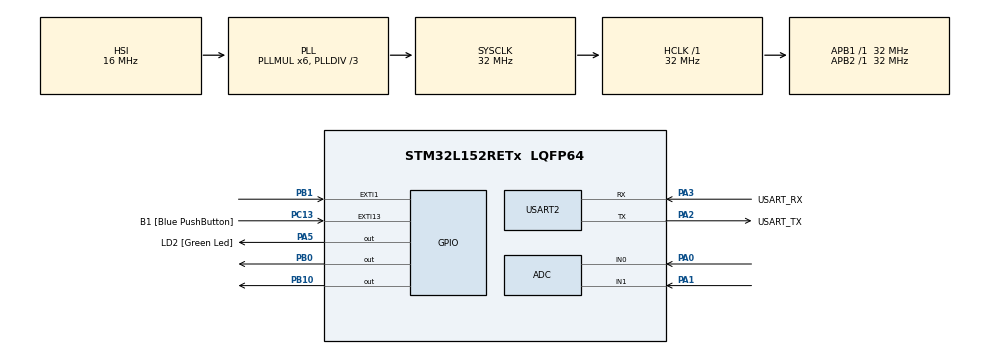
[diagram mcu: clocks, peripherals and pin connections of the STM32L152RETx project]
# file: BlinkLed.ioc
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Mcu.Family=STM32L1
PH0-OSC_IN.Signal=RCC_OSC_IN
Dma.ADC.0.Mode=DMA_CIRCULAR
ADC.SamplingTime-2\#ChannelRegularConversion=ADC_SAMPLETIME_4CYCLES
ADC.Rank-0\#ChannelRegularConversion=1
PA14.GPIO_Label=TCK
Dma.ADC.0.Priority=DMA_PRIORITY_LOW
VP_RTC_VS_RTC_Activate.Mode=RTC_Enabled
RCC.SYSCLKSource=RCC_SYSCLKSOURCE_PLLCLK
ProjectManager.StackSize=0x400
ADC.NbrOfConversion=3
NVIC.EXTI1_IRQn=true\:0\:0\:false\:false\:true\:true\:true
RCC.PLLDIV=RCC_PLL_DIV3
Dma.ADC.0.PeriphInc=DMA_PINC_DISABLE
RCC.HCLKFreq_Value=32000000
PC13-WKUP2.GPIO_Label=B1 [Blue PushButton]
RCC.APB2TimFreq_Value=32000000
PB1.GPIO_ModeDefaultEXTI=GPIO_MODE_IT_RISING
RCC.AHBFreq_Value=32000000
PH0-OSC_IN.Mode=HSE-External-Clock-Source
Dma.ADC.0.Direction=DMA_PERIPH_TO_MEMORY
RCC.HSE_VALUE=8000000
PC13-WKUP2.Signal=GPXTI13
RCC.PLLMUL=RCC_PLL_MUL6
PC14-OSC32_IN.Mode=LSE-External-Oscillator
RCC.RTCClockSelectionVirtual=RCC_RTCCLKSOURCE_LSE
PA14.Mode=Serial_Wire
Dma.ADC.0.MemInc=DMA_MINC_ENABLE
Mcu.Package=LQFP64
PB1.Signal=GPXTI1
USART2.VirtualMode=VM_ASYNC
RCC.USBOutput=48000000
PA2.GPIO_Label=USART_TX
Dma.ADC.0.Instance=DMA1_Channel1
VP_RTC_VS_RTC_Calendar.Mode=RTC_Calendar
ADC.Channel-0\#ChannelRegularConversion=ADC_CHANNEL_0
Dma.ADC.0.MemDataAlignment=DMA_MDATAALIGN_WORD
ADC.Channel-2\#ChannelRegularConversion=ADC_CHANNEL_TEMPSENSOR
RCC.APB1TimFreq_Value=32000000
ADC.SamplingTime-1\#ChannelRegularConversion=ADC_SAMPLETIME_4CYCLES
Dma.Request0=ADC
PA3.Signal=USART2_RX
PB3.GPIO_Label=SWO
RCC.MSI_VALUE=2097000
PC15-OSC32_OUT.Mode=LSE-External-Oscillator
ADC.Channel-1\#ChannelRegularConversion=ADC_CHANNEL_1
VP_ADC_TempSens_Input.Mode=IN-TempSens
PC14-OSC32_IN.Signal=RCC_OSC32_IN
Dma.ADC.0.PeriphDataAlignment=DMA_PDATAALIGN_WORD
PA13.Signal=SYS_JTMS-SWDIO
PA3.Mode=Asynchronous
ProjectManager.TargetToolchain=STM32CubeIDE
ADC.Rank-1\#ChannelRegularConversion=2
PA0-WKUP1.Signal=ADC_IN0
ADC.NbrOfConversionFlag=1
PC15-OSC32_OUT.Signal=RCC_OSC32_OUT
ADC.Rank-2\#ChannelRegularConversion=3
PA1.Signal=ADC_IN1
PB10.Signal=GPIO_Output
PA5.Signal=GPIO_Output
ADC.DMAContinuousRequests=ENABLE
board=NUCLEO-L152RE
RCC.VCOOutputFreq_Value=96000000
RCC.APB2Freq_Value=32000000
PA1.Mode=IN1
PH1-OSC_OUT.Signal=RCC_OSC_OUT
PA0-WKUP1.Mode=IN0
PA13.Mode=Serial_Wire
Mcu.Name=STM32L152RETx
PA13.GPIO_Label=TMS
PA2.Signal=USART2_TX
RCC.48MHZClocksFreq_Value=48000000
PB3.Signal=SYS_JTDO-TRACESWO
RCC.SYSCLKFreq_VALUE=32000000
PA5.GPIO_Label=LD2 [Green Led]
PA14.Signal=SYS_JTCK-SWCLK
ProjectManager.HeapSize=0x200
RCC.HSI_VALUE=16000000
NVIC.PriorityGroup=NVIC_PRIORITYGROUP_0
PA2.Mode=Asynchronous
ADC.SamplingTime-0\#ChannelRegularConversion=ADC_SAMPLETIME_4CYCLES
NVIC.DMA1_Channel1_IRQn=true\:0\:0\:false\:false\:true\:false\:true
RCC.APB1Freq_Value=32000000
PB0.Signal=GPIO_Output
ADC.ContinuousConvMode=ENABLE
PA3.GPIO_Label=USART_RX

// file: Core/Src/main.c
/* USER CODE BEGIN Header */
/**
  ******************************************************************************
  * @file           : main.c
  * @brief          : Main program body
  ******************************************************************************
  * @attention
  *
  * <h2><center>&copy; Copyright (c) 2021 STMicroelectronics.
  * All rights reserved.</center></h2>
  *
  * This software component is licensed by ST under BSD 3-Clause license,
  * the "License"; You may not use this file except in compliance with the
  * License. You may obtain a copy of the License at:
  *                        opensource.org/licenses/BSD-3-Clause
  *
  ******************************************************************************
  */
/* USER CODE END Header */
#include "main.h"

/* USER CODE BEGIN Includes */
#include "string.h"
#include <stdlib.h>
#include <stdio.h>
/* USER CODE END Includes */

ADC_HandleTypeDef hadc;
DMA_HandleTypeDef hdma_adc;

RTC_HandleTypeDef hrtc;

UART_HandleTypeDef huart2;

/* USER CODE BEGIN PV */
int State = 0;
uint8_t tx_buff[] = "HELLO\n\r";
uint8_t rx_buff[8];
uint32_t adc_value[3]; //0: IN0, 1: IN1, 2: Temp
float temp;

static char input_serial[128]="";
static char flag[5]="";
static int dummy = 0;
static char time_[80]="NA";
int config_time = 30;
/* USER CODE END PV */

void SystemClock_Config(void);
static void MX_GPIO_Init(void);
static void MX_DMA_Init(void);
static void MX_USART2_UART_Init(void);
static void MX_ADC_Init(void);
static void MX_RTC_Init(void);

/* USER CODE BEGIN 0 */
void debugPrint(UART_HandleTypeDef *huart, char _out[]);
void debugPrintln(UART_HandleTypeDef *huart, char _out[]);

void HAL_GPIO_EXTI_Callback(uint16_t GPIO_Pin)
{
  if (GPIO_Pin == GPIO_PIN_0){
	  printf("- Interrupcion por pulsador activada");
	  // Interrupcion para cuando se presione el pulsador
  }
}

void HAL_UART_RxCpltCallback(UART_HandleTypeDef *huart){
	HAL_UART_Receive_IT(huart, rx_buff, 8); // Init UART Interrupt
	HAL_UART_Transmit(huart,  (uint8_t *)rx_buff, 8, 1); // ECHO
	debugPrintln(huart, (char *)rx_buff); // ECHO ver si funciona

	snprintf(input_serial, sizeof(input_serial), (char *)rx_buff);
	// #30S example
	if (strlen(input_serial) >= 2){
	  snprintf(flag, 3, input_serial);
	}
	printf("- Flag is: %s", flag);
	// need to parse #

	// Need to parse the number and convert to int
	// Also verify if is S: seconds or M: minutes
	dummy = strlen(input_serial) - 1;
	strncpy(time_, input_serial + 2, dummy);
	printf("- Time is: %s", time_);

	itoa(config_time, time_, 10); // set new time - decimal number
	printf("- Time is (decimal): %d", config_time);

}

void HAL_ADC_ConvCpltCallback(ADC_HandleTypeDef* hadc){
	// For temp sensor, but can be use to other ADC Channels
	float adc_volt = 3.3/4095*adc_value[2];
	temp = (( adc_volt - 0.76 ) / 0.0025) + 25; // Check the convertion in the datasheet

	//float adc_volt0 = 3.3/4095*adc_value[0]; // IN0
	printf("Lecture of adc0: %ld\n\r", adc_value[0]); // verificar si funciona

	//float adc_volt1 = 3.3/4095*adc_value[1]; // IN1
	printf("Lecture of adc1: %ld\n\r", adc_value[1]);

	HAL_ADC_Stop_IT(hadc);
}
/* USER CODE END 0 */

int main(void)
{

  /* MCU Configuration--------------------------------------------------------*/

  /* Reset of all peripherals, Initializes the Flash interface and the Systick. */
  HAL_Init();

  /* Configure the system clock */
  SystemClock_Config();

  /* Initialize all configured peripherals */
  MX_GPIO_Init();
  MX_DMA_Init();
  MX_USART2_UART_Init();
  MX_ADC_Init();
  MX_RTC_Init();
  /* USER CODE BEGIN 2 */
  HAL_UART_Receive_IT(&huart2, rx_buff, 8); // Init UART Interrupt
  // HAL_ADC_Start_DMA(&hadc, adc_value, 3);
  /* USER CODE END 2 */

  /* Infinite loop */
  while (1)
  {

    /* USER CODE BEGIN 3 */
	HAL_ADC_Start_IT(&hadc); // Start convertion
    printf("- Time is set to (decimal): %d", config_time);
	HAL_GPIO_TogglePin(GPIOB, GPIO_PIN_0);
	debugPrintln(&huart2, "Hello");
	HAL_Delay(500);

	// Falta ver como encender y apagar el led a cada minuto
  }
  /* USER CODE END 3 */
}

void SystemClock_Config(void)
{
  RCC_OscInitTypeDef RCC_OscInitStruct = {0};
  RCC_ClkInitTypeDef RCC_ClkInitStruct = {0};
  RCC_PeriphCLKInitTypeDef PeriphClkInit = {0};

  /** Configure the main internal regulator output voltage
  */
  __HAL_PWR_VOLTAGESCALING_CONFIG(PWR_REGULATOR_VOLTAGE_SCALE1);
  /** Initializes the RCC Oscillators according to the specified parameters
  * in the RCC_OscInitTypeDef structure.
  */
  RCC_OscInitStruct.OscillatorType = RCC_OSCILLATORTYPE_HSI|RCC_OSCILLATORTYPE_LSE;
  RCC_OscInitStruct.LSEState = RCC_LSE_ON;
  RCC_OscInitStruct.HSIState = RCC_HSI_ON;
  RCC_OscInitStruct.HSICalibrationValue = RCC_HSICALIBRATION_DEFAULT;
  RCC_OscInitStruct.PLL.PLLState = RCC_PLL_ON;
  RCC_OscInitStruct.PLL.PLLSource = RCC_PLLSOURCE_HSI;
  RCC_OscInitStruct.PLL.PLLMUL = RCC_PLL_MUL6;
  RCC_OscInitStruct.PLL.PLLDIV = RCC_PLL_DIV3;
  if (HAL_RCC_OscConfig(&RCC_OscInitStruct) != HAL_OK)
  {
    Error_Handler();
  }
  /** Initializes the CPU, AHB and APB buses clocks
  */
  RCC_ClkInitStruct.ClockType = RCC_CLOCKTYPE_HCLK|RCC_CLOCKTYPE_SYSCLK
                              |RCC_CLOCKTYPE_PCLK1|RCC_CLOCKTYPE_PCLK2;
  RCC_ClkInitStruct.SYSCLKSource = RCC_SYSCLKSOURCE_PLLCLK;
  RCC_ClkInitStruct.AHBCLKDivider = RCC_SYSCLK_DIV1;
  RCC_ClkInitStruct.APB1CLKDivider = RCC_HCLK_DIV1;
  RCC_ClkInitStruct.APB2CLKDivider = RCC_HCLK_DIV1;

  if (HAL_RCC_ClockConfig(&RCC_ClkInitStruct, FLASH_LATENCY_1) != HAL_OK)
  {
    Error_Handler();
  }
  PeriphClkInit.PeriphClockSelection = RCC_PERIPHCLK_RTC;
  PeriphClkInit.RTCClockSelection = RCC_RTCCLKSOURCE_LSE;
  if (HAL_RCCEx_PeriphCLKConfig(&PeriphClkInit) != HAL_OK)
  {
    Error_Handler();
  }
}

static void MX_ADC_Init(void)
{

  ADC_ChannelConfTypeDef sConfig = {0};

  /** Configure the global features of the ADC (Clock, Resolution, Data Alignment and number of conversion)
  */
  hadc.Instance = ADC1;
  hadc.Init.ClockPrescaler = ADC_CLOCK_ASYNC_DIV1;
  hadc.Init.Resolution = ADC_RESOLUTION_12B;
  hadc.Init.DataAlign = ADC_DATAALIGN_RIGHT;
  hadc.Init.ScanConvMode = ADC_SCAN_DISABLE;
  hadc.Init.EOCSelection = ADC_EOC_SEQ_CONV;
  hadc.Init.LowPowerAutoWait = ADC_AUTOWAIT_DISABLE;
  hadc.Init.LowPowerAutoPowerOff = ADC_AUTOPOWEROFF_DISABLE;
  hadc.Init.ChannelsBank = ADC_CHANNELS_BANK_A;
  hadc.Init.ContinuousConvMode = ENABLE;
  hadc.Init.NbrOfConversion = 3;
  hadc.Init.DiscontinuousConvMode = DISABLE;
  hadc.Init.ExternalTrigConv = ADC_SOFTWARE_START;
  hadc.Init.ExternalTrigConvEdge = ADC_EXTERNALTRIGCONVEDGE_NONE;
  hadc.Init.DMAContinuousRequests = ENABLE;
  if (HAL_ADC_Init(&hadc) != HAL_OK)
  {
    Error_Handler();
  }
  /** Configure for the selected ADC regular channel its corresponding rank in the sequencer and its sample time.
  */
  sConfig.Channel = ADC_CHANNEL_0;
  sConfig.Rank = ADC_REGULAR_RANK_1;
  sConfig.SamplingTime = ADC_SAMPLETIME_4CYCLES;
  if (HAL_ADC_ConfigChannel(&hadc, &sConfig) != HAL_OK)
  {
    Error_Handler();
  }
  /** Configure for the selected ADC regular channel its corresponding rank in the sequencer and its sample time.
  */
  sConfig.Channel = ADC_CHANNEL_1;
  sConfig.Rank = ADC_REGULAR_RANK_2;
  if (HAL_ADC_ConfigChannel(&hadc, &sConfig) != HAL_OK)
  {
    Error_Handler();
  }
  /** Configure for the selected ADC regular channel its corresponding rank in the sequencer and its sample time.
  */
  sConfig.Channel = ADC_CHANNEL_TEMPSENSOR;
  sConfig.Rank = ADC_REGULAR_RANK_3;
  if (HAL_ADC_ConfigChannel(&hadc, &sConfig) != HAL_OK)
  {
    Error_Handler();
  }

}

static void MX_RTC_Init(void)
{

  RTC_TimeTypeDef sTime = {0};
  RTC_DateTypeDef sDate = {0};

  /** Initialize RTC Only
  */
  hrtc.Instance = RTC;
  hrtc.Init.HourFormat = RTC_HOURFORMAT_24;
  hrtc.Init.AsynchPrediv = 127;
  hrtc.Init.SynchPrediv = 255;
  hrtc.Init.OutPut = RTC_OUTPUT_DISABLE;
  hrtc.Init.OutPutPolarity = RTC_OUTPUT_POLARITY_HIGH;
  hrtc.Init.OutPutType = RTC_OUTPUT_TYPE_OPENDRAIN;
  if (HAL_RTC_Init(&hrtc) != HAL_OK)
  {
    Error_Handler();
  }

  /** Initialize RTC and set the Time and Date
  */
  sTime.Hours = 0x0;
  sTime.Minutes = 0x0;
  sTime.Seconds = 0x0;
  sTime.DayLightSaving = RTC_DAYLIGHTSAVING_NONE;
  sTime.StoreOperation = RTC_STOREOPERATION_RESET;
  if (HAL_RTC_SetTime(&hrtc, &sTime, RTC_FORMAT_BCD) != HAL_OK)
  {
    Error_Handler();
  }
  sDate.WeekDay = RTC_WEEKDAY_MONDAY;
  sDate.Month = RTC_MONTH_JANUARY;
  sDate.Date = 0x1;
  sDate.Year = 0x0;

  if (HAL_RTC_SetDate(&hrtc, &sDate, RTC_FORMAT_BCD) != HAL_OK)
  {
    Error_Handler();
  }

}

static void MX_USART2_UART_Init(void)
{

  huart2.Instance = USART2;
  huart2.Init.BaudRate = 115200;
  huart2.Init.WordLength = UART_WORDLENGTH_8B;
  huart2.Init.StopBits = UART_STOPBITS_1;
  huart2.Init.Parity = UART_PARITY_NONE;
  huart2.Init.Mode = UART_MODE_TX_RX;
  huart2.Init.HwFlowCtl = UART_HWCONTROL_NONE;
  huart2.Init.OverSampling = UART_OVERSAMPLING_16;
  if (HAL_UART_Init(&huart2) != HAL_OK)
  {
    Error_Handler();
  }

}

static void MX_DMA_Init(void)
{

  /* DMA controller clock enable */
  __HAL_RCC_DMA1_CLK_ENABLE();

  /* DMA interrupt init */
  /* DMA1_Channel1_IRQn interrupt configuration */
  HAL_NVIC_SetPriority(DMA1_Channel1_IRQn, 0, 0);
  HAL_NVIC_EnableIRQ(DMA1_Channel1_IRQn);

}

static void MX_GPIO_Init(void)
{
  GPIO_InitTypeDef GPIO_InitStruct = {0};

  /* GPIO Ports Clock Enable */
  __HAL_RCC_GPIOC_CLK_ENABLE();
  __HAL_RCC_GPIOH_CLK_ENABLE();
  __HAL_RCC_GPIOA_CLK_ENABLE();
  __HAL_RCC_GPIOB_CLK_ENABLE();

  /*Configure GPIO pin Output Level */
  HAL_GPIO_WritePin(LD2_GPIO_Port, LD2_Pin, GPIO_PIN_RESET);

  /*Configure GPIO pin Output Level */
  HAL_GPIO_WritePin(GPIOB, GPIO_PIN_0|GPIO_PIN_10, GPIO_PIN_RESET);

  /*Configure GPIO pin : B1_Pin */
  GPIO_InitStruct.Pin = B1_Pin;
  GPIO_InitStruct.Mode = GPIO_MODE_IT_RISING;
  GPIO_InitStruct.Pull = GPIO_NOPULL;
  HAL_GPIO_Init(B1_GPIO_Port, &GPIO_InitStruct);

  /*Configure GPIO pin : LD2_Pin */
  GPIO_InitStruct.Pin = LD2_Pin;
  GPIO_InitStruct.Mode = GPIO_MODE_OUTPUT_PP;
  GPIO_InitStruct.Pull = GPIO_NOPULL;
  GPIO_InitStruct.Speed = GPIO_SPEED_FREQ_LOW;
  HAL_GPIO_Init(LD2_GPIO_Port, &GPIO_InitStruct);

  /*Configure GPIO pins : PB0 PB10 */
  GPIO_InitStruct.Pin = GPIO_PIN_0|GPIO_PIN_10;
  GPIO_InitStruct.Mode = GPIO_MODE_OUTPUT_PP;
  GPIO_InitStruct.Pull = GPIO_NOPULL;
  GPIO_InitStruct.Speed = GPIO_SPEED_FREQ_LOW;
  HAL_GPIO_Init(GPIOB, &GPIO_InitStruct);

  /*Configure GPIO pin : PB1 */
  GPIO_InitStruct.Pin = GPIO_PIN_1;
  GPIO_InitStruct.Mode = GPIO_MODE_IT_RISING;
  GPIO_InitStruct.Pull = GPIO_NOPULL;
  HAL_GPIO_Init(GPIOB, &GPIO_InitStruct);

  /* EXTI interrupt init*/
  HAL_NVIC_SetPriority(EXTI1_IRQn, 0, 0);
  HAL_NVIC_EnableIRQ(EXTI1_IRQn);

}

/* USER CODE BEGIN 4 */

void debugPrint(UART_HandleTypeDef *huart, char _out[]){
	HAL_UART_Transmit(huart, (uint8_t *) _out, strlen(_out), 10);
}

void debugPrintln(UART_HandleTypeDef *huart, char _out[]){
	HAL_UART_Transmit(huart, (uint8_t *) _out, strlen(_out), 10);
	char newline[2] = "\r\n";
	HAL_UART_Transmit(huart, (uint8_t *) newline, 2, 10);
}
/* USER CODE END 4 */

void Error_Handler(void)
{
  __disable_irq();
  while (1)
  {
  }
}

/************************ (C) COPYRIGHT STMicroelectronics *****END OF FILE****/
